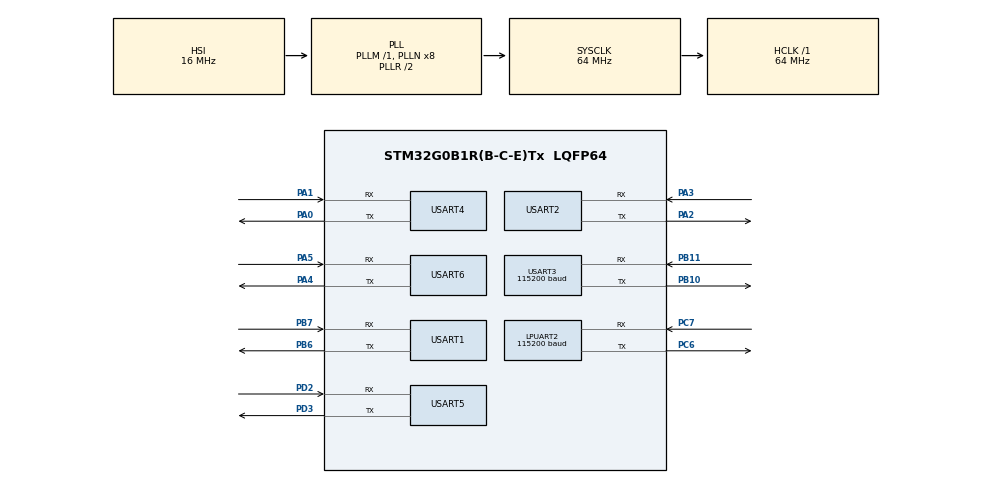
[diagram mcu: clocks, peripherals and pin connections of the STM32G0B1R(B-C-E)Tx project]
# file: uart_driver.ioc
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LPUART2.BaudRate=115200
LPUART2.WordLength=UART_WORDLENGTH_8B
Mcu.Family=STM32G0
Mcu.Name=STM32G0B1R(B-C-E)Tx
Mcu.Package=LQFP64
NVIC.USART1_IRQn=true\:0\:0\:false\:false\:true\:true\:true\:true
NVIC.USART2_LPUART2_IRQn=true\:0\:0\:false\:false\:true\:true\:true\:true
NVIC.USART3_4_5_6_LPUART1_IRQn=true\:0\:0\:false\:false\:true\:true\:true\:true
PA0.Mode=Asynchronous
PA0.Signal=USART4_TX
PA1.Mode=Asynchronous
PA1.Signal=USART4_RX
PA2.Mode=Asynchronous
PA2.Signal=USART2_TX
PA3.Mode=Asynchronous
PA3.Signal=USART2_RX
PA4.Mode=Asynchronous
PA4.Signal=USART6_TX
PA5.Mode=Asynchronous
PA5.Signal=USART6_RX
PB10.Mode=Asynchronous
PB10.Signal=USART3_TX
PB11.Mode=Asynchronous
PB11.Signal=USART3_RX
PB6.Mode=Asynchronous
PB6.Signal=USART1_TX
PB7.Mode=Asynchronous
PB7.Signal=USART1_RX
PC6.Mode=Asynchronous
PC6.Signal=LPUART2_TX
PC7.Mode=Asynchronous
PC7.Signal=LPUART2_RX
PD2.Mode=Asynchronous
PD2.Signal=USART5_RX
PD3.Mode=Asynchronous
PD3.Signal=USART5_TX
ProjectManager.HeapSize=0x200
ProjectManager.StackSize=0x400
ProjectManager.TargetToolchain=STM32CubeIDE
RCC.ADCFreq_Value=64000000
RCC.AHBFreq_Value=64000000
RCC.CortexFreq_Value=64000000
RCC.EXTERNAL_CLOCK_VALUE=48000
RCC.HCLKFreq_Value=64000000
RCC.HSE_VALUE=8000000
RCC.HSI48_VALUE=48000000
RCC.HSI_VALUE=16000000
RCC.LSE_VALUE=32768
RCC.SYSCLKFreq_VALUE=64000000
RCC.SYSCLKSource=RCC_SYSCLKSOURCE_PLLCLK
RCC.USBFreq_Value=48000000
RCC.VCOOutputFreq_Value=128000000
USART1.VirtualMode-Asynchronous=VM_ASYNC
USART2.VirtualMode-Asynchronous=VM_ASYNC
USART3.BaudRate=115200
USART3.OverSampling=UART_OVERSAMPLING_16
USART3.VirtualMode-Asynchronous=VM_ASYNC
USART4.VirtualMode-Asynchronous=VM_ASYNC
USART5.VirtualMode-Asynchronous=VM_ASYNC
USART6.VirtualMode-Asynchronous=VM_ASYNC
VP_SYS_VS_DBSignals.Mode=DisableDeadBatterySignals
board=custom

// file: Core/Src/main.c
/* USER CODE BEGIN Header */
/**
  ******************************************************************************
  * @file           : main.c
  * @brief          : Main program body
  ******************************************************************************
  * @attention
  *
  * Copyright (c) 2025 STMicroelectronics.
  * All rights reserved.
  *
  * This software is licensed under terms that can be found in the LICENSE file
  * in the root directory of this software component.
  * If no LICENSE file comes with this software, it is provided AS-IS.
  *
  ******************************************************************************
  */
/* USER CODE END Header */
#include "main.h"

UART_HandleTypeDef hlpuart2;
UART_HandleTypeDef huart1;
UART_HandleTypeDef huart2;
UART_HandleTypeDef huart3;
UART_HandleTypeDef huart4;
UART_HandleTypeDef huart5;
UART_HandleTypeDef huart6;

/* USER CODE BEGIN PV */
#define min(a,b) (((a) < (b)) ? (a) : (b))
#define max(a,b) (((a) > (b)) ? (a) : (b))

#define cobs_size_increase 2

#define  cobs_buffer_decoded_size  512
#define  cobs_buffer_encoded_size  cobs_buffer_decoded_size + cobs_size_increase
uint8_t cobs_buffer_encoded[cobs_buffer_encoded_size];
uint8_t cobs_buffer_decoded[cobs_buffer_decoded_size];

#define RING_BUFFER_SIZE 512

typedef struct
{
	UART_HandleTypeDef* uart_handle;
	ring_buffer_t ringbuffer_rx;
	uint8_t ringbuffer_rx_arr[RING_BUFFER_SIZE];
	ring_buffer_t ringbuffer_tx;
	uint8_t ringbuffer_tx_arr[RING_BUFFER_SIZE];
	uint8_t message_counter;
    uint8_t rx_byte;
    uint8_t tx_byte;
    size_t rx_message_size_encoded;
    size_t tx_message_size_encoded;
    // cobs decoding is done sequentially -> only one buffer needed
    uint8_t* cobs_buffer_encoded;
    uint8_t* cobs_buffer_decoded;

} UART_Buffer;

void rx_interrupt_callback(UART_Buffer* uart_buffer)
{
	if(!(ring_buffer_is_full(&uart_buffer->ringbuffer_rx) && uart_buffer->message_counter != 0))
	{
		ring_buffer_queue(&uart_buffer->ringbuffer_rx, uart_buffer->rx_byte);
		if(uart_buffer->rx_byte == 0)
		{
			uart_buffer->message_counter++;
		}
	}
	HAL_UART_Receive_IT(uart_buffer->uart_handle, &uart_buffer->rx_byte, 1);
}

void tx_interrupt_callback(UART_Buffer* uart_buffer)
{
	if (!ring_buffer_is_empty(&uart_buffer->ringbuffer_tx) )
	{
		ring_buffer_dequeue(&uart_buffer->ringbuffer_tx, &uart_buffer->tx_byte);
		HAL_UART_Transmit_IT(uart_buffer->uart_handle, &uart_buffer->tx_byte, 1);
	}
}

typedef enum
{
    NEW_MESSAGE_IN_DECODED_COBS_BUFFER  	= 0x00,
	TOO_FEW_BYTES_IN_RINGBUFFER     		= 0x01,
    COBS_DECODING_FAILED 					= 0x02,
    NO_ZERO_BYTE_IN_RINGBUFFER  			= 0x03,
    NO_NEW_MESSAGE				  			= 0x04,
    ERROR_DURING_RETRIEVING_FROM_RINGBUFFER	= 0x05,
} message_status;

message_status retrieve_message(UART_Buffer* uart_buffer)
{
	if(uart_buffer->message_counter > 0 || ring_buffer_is_full(&uart_buffer->ringbuffer_rx))
	{
		size_t num_of_items_in_buffer = ring_buffer_num_items(&uart_buffer->ringbuffer_rx);
		size_t index_of_zero = 0;

		while(index_of_zero < num_of_items_in_buffer)
		{
			uint8_t peeked_item;
			ring_buffer_peek(&uart_buffer->ringbuffer_rx, &peeked_item, index_of_zero);
			if(peeked_item == 0)
			{
				break;
			}
			index_of_zero++;
		}
//		return TOO_FEW_BYTES_IN_RINGBUFFER;

		if(index_of_zero == num_of_items_in_buffer) // ringbuffer is full and no zeros
		{
//			uart_buffer->ringbuffer.tail_index = 0;
//			uart_buffer->ringbuffer.head_index = 0;
//			uart_buffer->ringbuffer.tail_index = ((uart_buffer->ringbuffer.tail_index + index_of_zero) & uart_buffer->ringbuffer.buffer_mask);

			uart_buffer->message_counter = 0;
			return NO_ZERO_BYTE_IN_RINGBUFFER;
		}
		else
		{
			uart_buffer->message_counter--;
		}
		if(index_of_zero + 1 < uart_buffer->rx_message_size_encoded) // too few bytes for complete message
		{
			uart_buffer->ringbuffer_rx.tail_index = ((uart_buffer->ringbuffer_rx.tail_index + index_of_zero + 1) & uart_buffer->ringbuffer_rx.buffer_mask);
			return TOO_FEW_BYTES_IN_RINGBUFFER;
		}
		// remove extra bytes before beginning of message
		size_t extra_bytes_before_message = max(index_of_zero + 1 - uart_buffer->rx_message_size_encoded, 0);
		uart_buffer->ringbuffer_rx.tail_index = ((uart_buffer->ringbuffer_rx.tail_index + extra_bytes_before_message) & uart_buffer->ringbuffer_rx.buffer_mask);

		size_t number_of_retrieved_bytes = ring_buffer_dequeue_arr(&uart_buffer->ringbuffer_rx, uart_buffer->cobs_buffer_encoded, uart_buffer->rx_message_size_encoded);

		if(number_of_retrieved_bytes == uart_buffer->rx_message_size_encoded)
		{

//			HAL_UART_Transmit(uart_buffer->uart_handle, &number_of_retrieved_bytes, 4, 1);

			cobs_decode_result res = cobs_decode(uart_buffer->cobs_buffer_decoded, cobs_buffer_decoded_size, uart_buffer->cobs_buffer_encoded, uart_buffer->rx_message_size_encoded-1);
			if (res.status == COBS_DECODE_OK)
			{
				return NEW_MESSAGE_IN_DECODED_COBS_BUFFER;
			}
			else
			{
				return COBS_DECODING_FAILED;
			}
		}
		else
		{
			return ERROR_DURING_RETRIEVING_FROM_RINGBUFFER;
		}
	}
	else
	{
		return NO_NEW_MESSAGE;
	}
}

UART_Buffer uart_buffer_pc;
UART_Buffer uart_buffer_motors[6];

//#define down_rx_message_length 5

//uint8_t buffer_up_byte;
//uint8_t buffer_down_byte[6];

//uint8_t up_rx_message_counter = 0;
//uint8_t down_rx_message_counter[6] = {0};

//#define buffer_down_size  24
//uint8_t buffer_down[buffer_down_size];

#define buffer_pc_tx_size  24
//#define  cobs_buffer_size  100

//#define up_tx_message_length  24
//#define up_tx_message_length_encoded up_tx_message_length + cobs_size_increase

uint8_t buffer_pc_tx[buffer_pc_tx_size];

//uint8_t buffer_tmp[4];
UART_HandleTypeDef* motor_controller[6];

/* USER CODE END PV */

void SystemClock_Config(void);
static void MX_GPIO_Init(void);
static void MX_USART2_UART_Init(void);
static void MX_USART1_UART_Init(void);
static void MX_USART3_UART_Init(void);
static void MX_USART4_UART_Init(void);
static void MX_USART5_UART_Init(void);
static void MX_USART6_UART_Init(void);
static void MX_LPUART2_UART_Init(void);
/* USER CODE BEGIN PFP */

void setup()
{
	// setup pc connected uart buffer
	uart_buffer_pc.uart_handle = &hlpuart2;
	ring_buffer_init(&uart_buffer_pc.ringbuffer_rx, uart_buffer_pc.ringbuffer_rx_arr, RING_BUFFER_SIZE);
	ring_buffer_init(&uart_buffer_pc.ringbuffer_tx, uart_buffer_pc.ringbuffer_tx_arr, RING_BUFFER_SIZE);
	uart_buffer_pc.message_counter = 0;
	uart_buffer_pc.rx_message_size_encoded = 25 + cobs_size_increase;
	uart_buffer_pc.tx_message_size_encoded = 24 + cobs_size_increase;
	uart_buffer_pc.cobs_buffer_encoded = cobs_buffer_encoded;
	uart_buffer_pc.cobs_buffer_decoded = cobs_buffer_decoded;
	HAL_UART_Receive_IT(uart_buffer_pc.uart_handle, &uart_buffer_pc.rx_byte, 1);

	// setup motor driver connected uart buffers
	motor_controller[0]=&huart2;
	motor_controller[1]=&huart3; //
	motor_controller[2]=&huart4; //
	motor_controller[3]=&huart1;
	motor_controller[4]=&huart5; //
	motor_controller[5]=&huart6; //
	for(int i=0; i<6; i++)
	{
		uart_buffer_motors[i].uart_handle = motor_controller[i];
		ring_buffer_init(&uart_buffer_motors[i].ringbuffer_rx, uart_buffer_motors[i].ringbuffer_rx_arr, RING_BUFFER_SIZE);
		ring_buffer_init(&uart_buffer_motors[i].ringbuffer_tx, uart_buffer_motors[i].ringbuffer_tx_arr, RING_BUFFER_SIZE);
		uart_buffer_motors[i].message_counter = 0;
		uart_buffer_motors[i].rx_message_size_encoded = 4 + cobs_size_increase;
		uart_buffer_motors[i].tx_message_size_encoded = 5 + cobs_size_increase;
		uart_buffer_motors[i].cobs_buffer_encoded = cobs_buffer_encoded;
		uart_buffer_motors[i].cobs_buffer_decoded = cobs_buffer_decoded;
		HAL_UART_Receive_IT(uart_buffer_motors[i].uart_handle, &uart_buffer_motors[i].rx_byte, 1);
	}
}

void clear_uart_buffer_overflow_flags()
{
	if (__HAL_UART_GET_FLAG(&hlpuart2, UART_FLAG_ORE)) {
		// Overrun error occurred, need to clear the flag
		__HAL_UART_CLEAR_OREFLAG(&hlpuart2); // Use the clear macro
		HAL_UART_Receive_IT(uart_buffer_pc.uart_handle, &uart_buffer_pc.rx_byte, 1);
//		uint8_t ok_message[] = "ov";
//		HAL_UART_Transmit(&hlpuart2, ok_message, 3, 1);
	}
	for(int i=0;i<6;i++)
	{
		if (__HAL_UART_GET_FLAG(uart_buffer_motors[i].uart_handle, UART_FLAG_ORE)) {
			// Overrun error occurred, need to clear the flag
			__HAL_UART_CLEAR_OREFLAG(uart_buffer_motors[i].uart_handle); // Use the clear macro
			HAL_UART_Receive_IT(uart_buffer_motors[i].uart_handle, &uart_buffer_motors[i].rx_byte, 1);
//			uint8_t ok_message[] = "om";
//			HAL_UART_Transmit(&hlpuart2, ok_message, 3, 1);
		}
	}
}

/* USER CODE END PFP */

int main(void)
{
//	USART1_IRQHandler;

  /* MCU Configuration--------------------------------------------------------*/

  /* Reset of all peripherals, Initializes the Flash interface and the Systick. */
  HAL_Init();

  /* Configure the system clock */
  SystemClock_Config();

  /* Initialize all configured peripherals */
  	MX_GPIO_Init();
//  	__disable_irq();

	MX_USART2_UART_Init();
	MX_USART1_UART_Init();
	MX_USART3_UART_Init();
	MX_USART4_UART_Init();
	MX_USART5_UART_Init();
	MX_USART6_UART_Init();
	MX_LPUART2_UART_Init();
  /* USER CODE BEGIN 2 */
  for(int i=0;i<24;i++){
	  buffer_pc_tx[i]=0;
//	  buffer_down[i]=0;
  }
  float temp=256.0;
  for(int i=0;i<6;i++){
	  memcpy(&buffer_pc_tx[i*4],&temp,4);
  }
  uint32_t timestamp = 0;
  uint32_t upward_send_interval = 10;

  /* USER CODE END 2 */

  /* Infinite loop */
  /* USER CODE BEGIN WHILE */
	setup();
	timestamp = HAL_GetTick();
//	uint8_t nnnn;

//	__enable_irq();
	while (1)
	{
//		if(HAL_GetTick() - timestamp > 2000)
//		{
//			timestamp = HAL_GetTick();
//			uint8_t ok_message[] = "b";
//			HAL_UART_Transmit(&hlpuart2, ok_message, 1, 1);
//		}
		clear_uart_buffer_overflow_flags();

//		// handle new messages from pc
		message_status stat = retrieve_message(&uart_buffer_pc);
		if (stat == NEW_MESSAGE_IN_DECODED_COBS_BUFFER)
		{
			// start debugging
//			cobs_encode_result res = cobs_encode(cobs_buffer_encoded, cobs_buffer_encoded_size, &cobs_buffer_decoded[1], 24);
//			cobs_buffer_encoded[25] = 0; // zero delimiter byte
//			HAL_UART_Transmit(&hlpuart2, cobs_buffer_encoded, 26, 3);
			// end debugging

			// forward messages to motor controllers
			for(int i=0;i<6;i++)
			{
				uint8_t message[uart_buffer_motors[i].tx_message_size_encoded - cobs_size_increase];
				message[0] = cobs_buffer_decoded[0]; // controllbyte of message
				memcpy(&message[1], &cobs_buffer_decoded[1+i*4], uart_buffer_motors[i].tx_message_size_encoded - cobs_size_increase - 1);

				cobs_encode_result res = cobs_encode(cobs_buffer_encoded, cobs_buffer_encoded_size, message, uart_buffer_motors[i].tx_message_size_encoded - cobs_size_increase);
				cobs_buffer_encoded[uart_buffer_motors[i].tx_message_size_encoded - 1] = 0; // add zero delimiter byte
				ring_buffer_queue_arr(&uart_buffer_motors[i].ringbuffer_tx, cobs_buffer_encoded, uart_buffer_motors[i].tx_message_size_encoded);
				tx_interrupt_callback(&uart_buffer_motors[i]);
//				HAL_UART_Transmit(motor_controller[i], cobs_buffer_encoded, 5, 1);
//				HAL_UART_Transmit(&hlpuart2, message, 5, 1);
			}
////			// start debugging
//			cobs_encode_result res = cobs_encode(cobs_buffer_encoded, cobs_buffer_encoded_size, &cobs_buffer_decoded[1], 24);
//			cobs_buffer_encoded[25] = 0; // zero delimiter byte
//			HAL_UART_Transmit(&hlpuart2, cobs_buffer_encoded, 26, 3);
////			// end debugging
		}

//		// handle new messages from motor controllers
		for(int i=0;i<6;i++)
		{
			message_status stat = retrieve_message(&uart_buffer_motors[i]);
//			HAL_UART_Transmit(&hlpuart2, &stat, 1, 1);

//			float stat_as_float = stat;
//			memcpy(&buffer_pc_tx[i*4], &stat_as_float, 4);

//			buffer_pc_tx[i*4] = 0;
//			buffer_pc_tx[i*4+1] = 0;
//			buffer_pc_tx[i*4+2] = 0;
//			buffer_pc_tx[i*4+3] = 0;

//			if (stat != NO_NEW_MESSAGE)
//			{
//				HAL_UART_Transmit(&hlpuart2, &stat, 1, 1);
//			}
			if (stat == NEW_MESSAGE_IN_DECODED_COBS_BUFFER)
			{
				memcpy(&buffer_pc_tx[i*4], cobs_buffer_decoded, uart_buffer_motors[i].rx_message_size_encoded  - cobs_size_increase);
			}
		}

		if(HAL_GetTick() - timestamp > upward_send_interval)
		{
			timestamp = HAL_GetTick();
			cobs_encode_result res = cobs_encode(cobs_buffer_encoded, cobs_buffer_encoded_size, buffer_pc_tx, buffer_pc_tx_size);
			cobs_buffer_encoded[uart_buffer_pc.tx_message_size_encoded - 1] = 0; // add zero delimiter byte
			ring_buffer_queue_arr(&uart_buffer_pc.ringbuffer_tx, cobs_buffer_encoded, uart_buffer_pc.tx_message_size_encoded);
			tx_interrupt_callback(&uart_buffer_pc);
		}
	}
	/* USER CODE END WHILE */
}

void SystemClock_Config(void)
{
  RCC_OscInitTypeDef RCC_OscInitStruct = {0};
  RCC_ClkInitTypeDef RCC_ClkInitStruct = {0};

  /** Configure the main internal regulator output voltage
  */
  HAL_PWREx_ControlVoltageScaling(PWR_REGULATOR_VOLTAGE_SCALE1);

  /** Initializes the RCC Oscillators according to the specified parameters
  * in the RCC_OscInitTypeDef structure.
  */
  RCC_OscInitStruct.OscillatorType = RCC_OSCILLATORTYPE_HSI;
  RCC_OscInitStruct.HSIState = RCC_HSI_ON;
  RCC_OscInitStruct.HSIDiv = RCC_HSI_DIV1;
  RCC_OscInitStruct.HSICalibrationValue = RCC_HSICALIBRATION_DEFAULT;
  RCC_OscInitStruct.PLL.PLLState = RCC_PLL_ON;
  RCC_OscInitStruct.PLL.PLLSource = RCC_PLLSOURCE_HSI;
  RCC_OscInitStruct.PLL.PLLM = RCC_PLLM_DIV1;
  RCC_OscInitStruct.PLL.PLLN = 8;
  RCC_OscInitStruct.PLL.PLLP = RCC_PLLP_DIV2;
  RCC_OscInitStruct.PLL.PLLQ = RCC_PLLQ_DIV2;
  RCC_OscInitStruct.PLL.PLLR = RCC_PLLR_DIV2;
  if (HAL_RCC_OscConfig(&RCC_OscInitStruct) != HAL_OK)
  {
    Error_Handler();
  }

  /** Initializes the CPU, AHB and APB buses clocks
  */
  RCC_ClkInitStruct.ClockType = RCC_CLOCKTYPE_HCLK|RCC_CLOCKTYPE_SYSCLK
                              |RCC_CLOCKTYPE_PCLK1;
  RCC_ClkInitStruct.SYSCLKSource = RCC_SYSCLKSOURCE_PLLCLK;
  RCC_ClkInitStruct.AHBCLKDivider = RCC_SYSCLK_DIV1;
  RCC_ClkInitStruct.APB1CLKDivider = RCC_HCLK_DIV1;

  if (HAL_RCC_ClockConfig(&RCC_ClkInitStruct, FLASH_LATENCY_2) != HAL_OK)
  {
    Error_Handler();
  }
}

static void MX_LPUART2_UART_Init(void)
{

  hlpuart2.Instance = LPUART2;
  hlpuart2.Init.BaudRate = 115200;
  hlpuart2.Init.WordLength = UART_WORDLENGTH_8B;
  hlpuart2.Init.StopBits = UART_STOPBITS_1;
  hlpuart2.Init.Parity = UART_PARITY_NONE;
  hlpuart2.Init.Mode = UART_MODE_TX_RX;
  hlpuart2.Init.HwFlowCtl = UART_HWCONTROL_NONE;
  hlpuart2.Init.OneBitSampling = UART_ONE_BIT_SAMPLE_DISABLE;
  hlpuart2.Init.ClockPrescaler = UART_PRESCALER_DIV1;
  hlpuart2.AdvancedInit.AdvFeatureInit = UART_ADVFEATURE_NO_INIT;
  hlpuart2.FifoMode = UART_FIFOMODE_DISABLE;
  if (HAL_UART_Init(&hlpuart2) != HAL_OK)
  {
    Error_Handler();
  }
  if (HAL_UARTEx_SetTxFifoThreshold(&hlpuart2, UART_TXFIFO_THRESHOLD_1_8) != HAL_OK)
  {
    Error_Handler();
  }
  if (HAL_UARTEx_SetRxFifoThreshold(&hlpuart2, UART_RXFIFO_THRESHOLD_1_8) != HAL_OK)
  {
    Error_Handler();
  }
  if (HAL_UARTEx_DisableFifoMode(&hlpuart2) != HAL_OK)
  {
    Error_Handler();
  }

}

static void MX_USART1_UART_Init(void)
{

  huart1.Instance = USART1;
  huart1.Init.BaudRate = 115200;
  huart1.Init.WordLength = UART_WORDLENGTH_8B;
  huart1.Init.StopBits = UART_STOPBITS_1;
  huart1.Init.Parity = UART_PARITY_NONE;
  huart1.Init.Mode = UART_MODE_TX_RX;
  huart1.Init.HwFlowCtl = UART_HWCONTROL_NONE;
  huart1.Init.OverSampling = UART_OVERSAMPLING_16;
  huart1.Init.OneBitSampling = UART_ONE_BIT_SAMPLE_DISABLE;
  huart1.Init.ClockPrescaler = UART_PRESCALER_DIV1;
  huart1.AdvancedInit.AdvFeatureInit = UART_ADVFEATURE_NO_INIT;
  if (HAL_UART_Init(&huart1) != HAL_OK)
  {
    Error_Handler();
  }
  if (HAL_UARTEx_SetTxFifoThreshold(&huart1, UART_TXFIFO_THRESHOLD_1_8) != HAL_OK)
  {
    Error_Handler();
  }
  if (HAL_UARTEx_SetRxFifoThreshold(&huart1, UART_RXFIFO_THRESHOLD_1_8) != HAL_OK)
  {
    Error_Handler();
  }
  if (HAL_UARTEx_DisableFifoMode(&huart1) != HAL_OK)
  {
    Error_Handler();
  }

}

static void MX_USART2_UART_Init(void)
{

  huart2.Instance = USART2;
  huart2.Init.BaudRate = 115200;
  huart2.Init.WordLength = UART_WORDLENGTH_8B;
  huart2.Init.StopBits = UART_STOPBITS_1;
  huart2.Init.Parity = UART_PARITY_NONE;
  huart2.Init.Mode = UART_MODE_TX_RX;
  huart2.Init.HwFlowCtl = UART_HWCONTROL_NONE;
  huart2.Init.OverSampling = UART_OVERSAMPLING_16;
  huart2.Init.OneBitSampling = UART_ONE_BIT_SAMPLE_DISABLE;
  huart2.Init.ClockPrescaler = UART_PRESCALER_DIV1;
  huart2.AdvancedInit.AdvFeatureInit = UART_ADVFEATURE_NO_INIT;
  if (HAL_UART_Init(&huart2) != HAL_OK)
  {
    Error_Handler();
  }
  if (HAL_UARTEx_SetTxFifoThreshold(&huart2, UART_TXFIFO_THRESHOLD_1_8) != HAL_OK)
  {
    Error_Handler();
  }
  if (HAL_UARTEx_SetRxFifoThreshold(&huart2, UART_RXFIFO_THRESHOLD_1_8) != HAL_OK)
  {
    Error_Handler();
  }
  if (HAL_UARTEx_DisableFifoMode(&huart2) != HAL_OK)
  {
    Error_Handler();
  }

}

static void MX_USART3_UART_Init(void)
{

  huart3.Instance = USART3;
  huart3.Init.BaudRate = 115200;
  huart3.Init.WordLength = UART_WORDLENGTH_8B;
  huart3.Init.StopBits = UART_STOPBITS_1;
  huart3.Init.Parity = UART_PARITY_NONE;
  huart3.Init.Mode = UART_MODE_TX_RX;
  huart3.Init.HwFlowCtl = UART_HWCONTROL_NONE;
  huart3.Init.OverSampling = UART_OVERSAMPLING_16;
  huart3.Init.OneBitSampling = UART_ONE_BIT_SAMPLE_DISABLE;
  huart3.Init.ClockPrescaler = UART_PRESCALER_DIV1;
  huart3.AdvancedInit.AdvFeatureInit = UART_ADVFEATURE_NO_INIT;
  if (HAL_UART_Init(&huart3) != HAL_OK)
  {
    Error_Handler();
  }
  if (HAL_UARTEx_SetTxFifoThreshold(&huart3, UART_TXFIFO_THRESHOLD_1_8) != HAL_OK)
  {
    Error_Handler();
  }
  if (HAL_UARTEx_SetRxFifoThreshold(&huart3, UART_RXFIFO_THRESHOLD_1_8) != HAL_OK)
  {
    Error_Handler();
  }
  if (HAL_UARTEx_DisableFifoMode(&huart3) != HAL_OK)
  {
    Error_Handler();
  }

}

static void MX_USART4_UART_Init(void)
{

  huart4.Instance = USART4;
  huart4.Init.BaudRate = 115200;
  huart4.Init.WordLength = UART_WORDLENGTH_8B;
  huart4.Init.StopBits = UART_STOPBITS_1;
  huart4.Init.Parity = UART_PARITY_NONE;
  huart4.Init.Mode = UART_MODE_TX_RX;
  huart4.Init.HwFlowCtl = UART_HWCONTROL_NONE;
  huart4.Init.OverSampling = UART_OVERSAMPLING_16;
  huart4.Init.OneBitSampling = UART_ONE_BIT_SAMPLE_DISABLE;
  huart4.Init.ClockPrescaler = UART_PRESCALER_DIV1;
  huart4.AdvancedInit.AdvFeatureInit = UART_ADVFEATURE_NO_INIT;
  if (HAL_UART_Init(&huart4) != HAL_OK)
  {
    Error_Handler();
  }

}

static void MX_USART5_UART_Init(void)
{

  huart5.Instance = USART5;
  huart5.Init.BaudRate = 115200;
  huart5.Init.WordLength = UART_WORDLENGTH_8B;
  huart5.Init.StopBits = UART_STOPBITS_1;
  huart5.Init.Parity = UART_PARITY_NONE;
  huart5.Init.Mode = UART_MODE_TX_RX;
  huart5.Init.HwFlowCtl = UART_HWCONTROL_NONE;
  huart5.Init.OverSampling = UART_OVERSAMPLING_16;
  huart5.Init.OneBitSampling = UART_ONE_BIT_SAMPLE_DISABLE;
  huart5.Init.ClockPrescaler = UART_PRESCALER_DIV1;
  huart5.AdvancedInit.AdvFeatureInit = UART_ADVFEATURE_NO_INIT;
  if (HAL_UART_Init(&huart5) != HAL_OK)
  {
    Error_Handler();
  }

}

static void MX_USART6_UART_Init(void)
{

  huart6.Instance = USART6;
  huart6.Init.BaudRate = 115200;
  huart6.Init.WordLength = UART_WORDLENGTH_8B;
  huart6.Init.StopBits = UART_STOPBITS_1;
  huart6.Init.Parity = UART_PARITY_NONE;
  huart6.Init.Mode = UART_MODE_TX_RX;
  huart6.Init.HwFlowCtl = UART_HWCONTROL_NONE;
  huart6.Init.OverSampling = UART_OVERSAMPLING_16;
  huart6.Init.OneBitSampling = UART_ONE_BIT_SAMPLE_DISABLE;
  huart6.Init.ClockPrescaler = UART_PRESCALER_DIV1;
  huart6.AdvancedInit.AdvFeatureInit = UART_ADVFEATURE_NO_INIT;
  if (HAL_UART_Init(&huart6) != HAL_OK)
  {
    Error_Handler();
  }

}

static void MX_GPIO_Init(void)
{

  /* GPIO Ports Clock Enable */
  __HAL_RCC_GPIOA_CLK_ENABLE();
  __HAL_RCC_GPIOB_CLK_ENABLE();
  __HAL_RCC_GPIOC_CLK_ENABLE();
  __HAL_RCC_GPIOD_CLK_ENABLE();

}

/* USER CODE BEGIN 4 */

void HAL_UART_RxCpltCallback(UART_HandleTypeDef *huart)
{
	if(huart==uart_buffer_pc.uart_handle)
	{
		rx_interrupt_callback(&uart_buffer_pc);
	}
	else if(huart==uart_buffer_motors[0].uart_handle)
	{
		rx_interrupt_callback(&uart_buffer_motors[0]);
	}
	else if(huart==uart_buffer_motors[1].uart_handle)
	{
		rx_interrupt_callback(&uart_buffer_motors[1]);
	}
	else if(huart==uart_buffer_motors[2].uart_handle)
	{
		rx_interrupt_callback(&uart_buffer_motors[2]);
	}
	else if(huart==uart_buffer_motors[3].uart_handle)
	{
		rx_interrupt_callback(&uart_buffer_motors[3]);
	}
	else if(huart==uart_buffer_motors[4].uart_handle)
	{
		rx_interrupt_callback(&uart_buffer_motors[4]);
	}
	else if(huart==uart_buffer_motors[5].uart_handle)
	{
		rx_interrupt_callback(&uart_buffer_motors[5]);
	}
}

//ring_buffer_size_t nn;

void HAL_UART_TxCpltCallback(UART_HandleTypeDef *huart)
{
	if(huart==uart_buffer_pc.uart_handle)
	{
		tx_interrupt_callback(&uart_buffer_pc);
	}
	else if(huart==uart_buffer_motors[0].uart_handle)
	{
		tx_interrupt_callback(&uart_buffer_motors[0]);
	}
	else if(huart==uart_buffer_motors[1].uart_handle)
	{
		tx_interrupt_callback(&uart_buffer_motors[1]);
	}
	else if(huart==uart_buffer_motors[2].uart_handle)
	{
		tx_interrupt_callback(&uart_buffer_motors[2]);
	}
	else if(huart==uart_buffer_motors[3].uart_handle)
	{
		tx_interrupt_callback(&uart_buffer_motors[3]);
	}
	else if(huart==uart_buffer_motors[4].uart_handle)
	{
		tx_interrupt_callback(&uart_buffer_motors[4]);
	}
	else if(huart==uart_buffer_motors[5].uart_handle)
	{
		tx_interrupt_callback(&uart_buffer_motors[5]);
	}
}
/* USER CODE END 4 */

void Error_Handler(void)
{
  __disable_irq();
  while (1)
  {
  }
}
